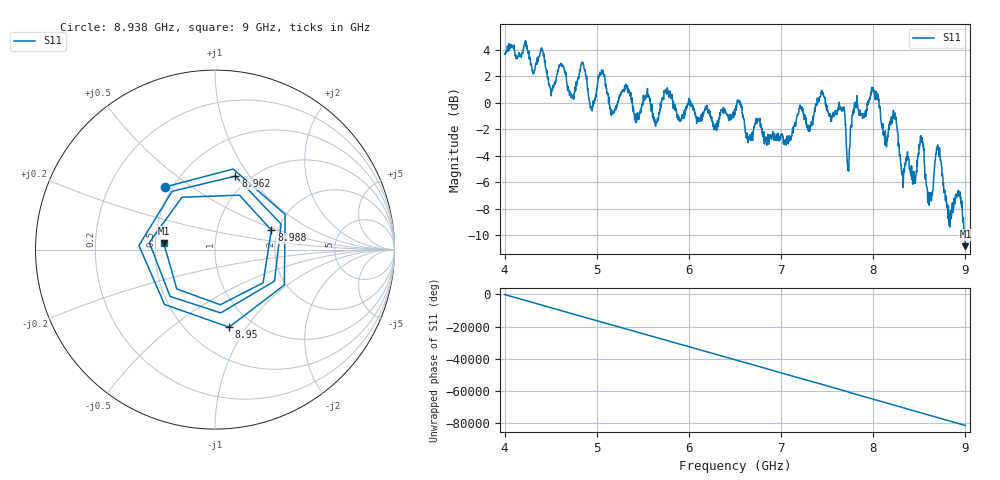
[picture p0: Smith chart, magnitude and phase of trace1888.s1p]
! Created with skrf 1.8.0 (http://scikit-rf.org).
# Hz S RI R 50.0
!freq ReS11 ImS11
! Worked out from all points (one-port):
!   1601 points, 4 GHz to 9 GHz, reference 50 ohm
!   lowest |S11| = -10.8 dB at 9 GHz (marker M1), VSWR 1.80, Z = 27.8 + j2.06 ohm
!   |S11| at or under -10 dB: 8.992653 GHz to end of sweep
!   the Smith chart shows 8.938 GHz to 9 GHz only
!   S11 on the Smith chart (normalised r, x): 8.938 GHz: 0.45, +0.40; 8.95 GHz: 0.78, -0.83; 8.962 GHz: 0.86, +0.86; 8.988 GHz: 1.85, +0.45; 9 GHz: 0.56, +0.04
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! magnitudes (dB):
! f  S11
! 4 GHz  3.7
! 4.406 GHz  4.0
! 4.509 GHz  0.9
! 4.625 GHz  2.8
! 4.728 GHz  0.4
! 4.841 GHz  3.1
! 4.941 GHz  -0.4
! 5.05 GHz  2.2
! 5.162 GHz  -0.8
! 5.25 GHz  0.6
! 5.875 GHz  -1.0
! 6.5 GHz  -0.8
! 7.125 GHz  -1.9
! 7.45 GHz  0.6
! 7.75 GHz  -2.6
! 7.803 GHz  0.0
! 8.006 GHz  0.9
! 8.375 GHz  -4.3
! 8.444 GHz  -6.0
! 8.525 GHz  -2.7
! 8.616 GHz  -6.8
! 8.703 GHz  -3.4
! 8.822 GHz  -8.6
! 8.938 GHz  -7.0
! 8.95 GHz  -7.1
! 8.962 GHz  -7.4
! 8.988 GHz  -9.6
! 9 GHz  -10.8
